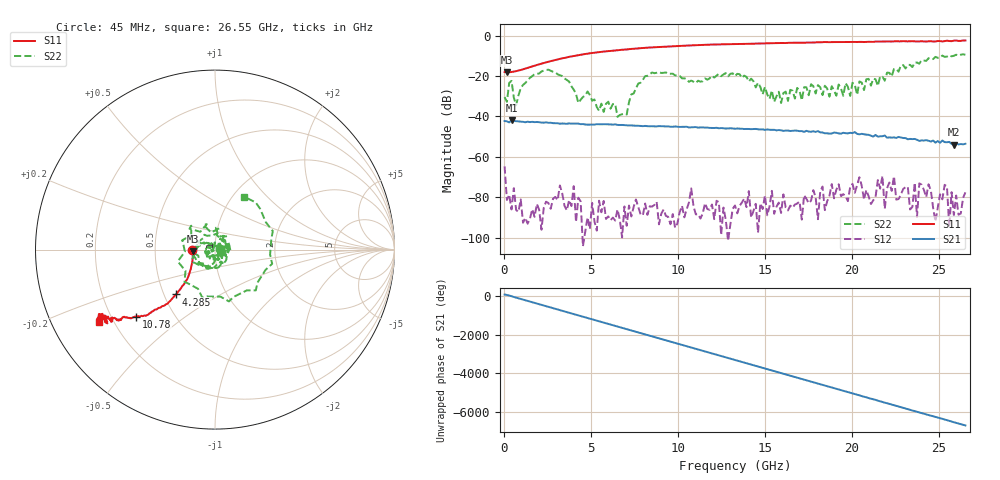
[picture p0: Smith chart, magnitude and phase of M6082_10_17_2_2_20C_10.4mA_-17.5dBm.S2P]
!  2-Port S-parameters saved by WinCal
! VAR MeasName=S-Parameters (CALIBRATED_DATA) read from VNA (C)
! VAR MeasDate=10/16/2015 3:58:53 PM
! VAR NAME=M6082_10_17_2_2_20C_10.4mA_-17.5dBm
! VAR FILENAME=M6082_10_17_2_2_20C_10.4mA_-17.5dBm.S2P
! VAR DATE=10/16/2015 3:58:53 PM
! VAR PHYS_PORTS=2,1
! VAR ObjTypeName=DATASET
! VAR IndexType=Frequency
# Hz S RI R 50
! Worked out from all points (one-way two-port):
!   201 points, 45 MHz to 26.55 GHz, reference 50 ohm
!   highest |S21| = -41.86 dB at 442.5 MHz (marker M1); lowest = -54.0 dB at 25.88 GHz (marker M2)
!   lowest |S11| = -18.1 dB at 177.5 MHz (marker M3), VSWR 1.28, Z = 39 - j0.785 ohm
!   |S11| at or under -10 dB: start of sweep to 4.048 GHz
!   |S22| runs from -40.2 to -9.2 dB; largest |S21 - S12| = 0.008
!   S11 on the Smith chart (normalised r, x): 45 MHz: 0.78, -0.00; 4.285 GHz: 0.58, -0.32; 10.78 GHz: 0.30, -0.34; 26.55 GHz: 0.15, -0.28
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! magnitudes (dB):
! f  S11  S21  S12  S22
! 45 MHz  -18.0  -42.3  -64.7  -30.4
! 177.5 MHz  -18.1  -42.4  -81.4  -32.8
! 442.5 MHz  -18.0  -41.9  -86.1  -22.4
! 707.5 MHz  -17.5  -42.3  -86.3  -34.5
! 2.562 GHz  -12.9  -43.1  -82.9  -16.8
! 4.285 GHz  -9.6  -43.5  -80.2  -33.3
! 4.55 GHz  -9.2  -43.8  -104.3  -30.3
! 7.067 GHz  -6.8  -44.4  -94.1  -39.0
! 7.73 GHz  -6.3  -44.6  -84.9  -23.7
! 8.922 GHz  -5.6  -44.8  -93.4  -18.0
! 10.78 GHz  -4.8  -45.4  -75.6  -22.2
! 13.29 GHz  -4.1  -46.1  -84.1  -20.0
! 15.95 GHz  -3.6  -46.9  -87.8  -33.4
! 17.8 GHz  -3.4  -47.3  -76.5  -25.0
! 20.32 GHz  -3.1  -48.6  -74.1  -29.3
! 21.38 GHz  -2.9  -49.2  -79.9  -21.6
! 21.77 GHz  -2.9  -49.8  -69.5  -20.3
! 21.91 GHz  -2.9  -49.5  -85.8  -22.3
! 22.17 GHz  -2.8  -50.4  -72.7  -18.4
! 22.57 GHz  -2.7  -50.6  -81.2  -16.5
! 25.88 GHz  -2.5  -54.0  -88.9  -9.9
! 26.55 GHz  -2.3  -53.5  -77.6  -9.5
